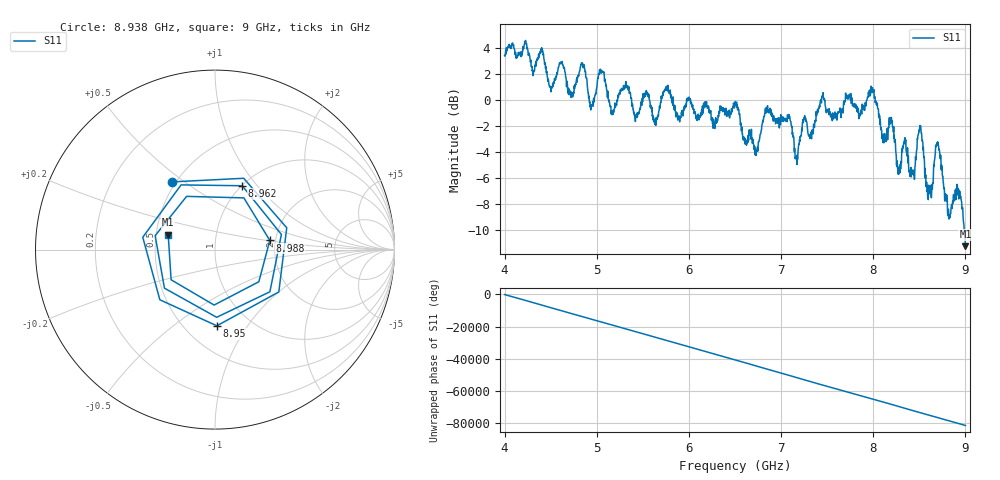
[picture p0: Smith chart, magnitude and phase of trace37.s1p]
! Created with skrf 1.8.0 (http://scikit-rf.org).
# Hz S RI R 50.0
!freq ReS11 ImS11
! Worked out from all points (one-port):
!   1601 points, 4 GHz to 9 GHz, reference 50 ohm
!   lowest |S11| = -11.3 dB at 9 GHz (marker M1), VSWR 1.75, Z = 29 + j5.19 ohm
!   |S11| at or under -10 dB: 8.986676 GHz to end of sweep
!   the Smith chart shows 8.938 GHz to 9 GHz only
!   S11 on the Smith chart (normalised r, x): 8.938 GHz: 0.48, +0.45; 8.95 GHz: 0.71, -0.73; 8.962 GHz: 1.01, +0.84; 8.988 GHz: 1.86, +0.21; 9 GHz: 0.58, +0.10
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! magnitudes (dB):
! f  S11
! 4 GHz  3.4
! 4.503 GHz  0.6
! 4.625 GHz  3.0
! 4.725 GHz  0.5
! 4.853 GHz  2.5
! 4.944 GHz  -0.5
! 5.053 GHz  2.2
! 5.162 GHz  -1.1
! 5.25 GHz  0.4
! 5.875 GHz  -1.0
! 6.5 GHz  -0.3
! 6.725 GHz  -3.8
! 6.85 GHz  -0.7
! 7.125 GHz  -2.5
! 7.75 GHz  0.3
! 7.994 GHz  0.7
! 8.275 GHz  -5.7
! 8.375 GHz  -4.3
! 8.438 GHz  -5.8
! 8.509 GHz  -2.2
! 8.609 GHz  -6.7
! 8.697 GHz  -3.4
! 8.816 GHz  -8.4
! 8.938 GHz  -7.0
! 8.95 GHz  -7.4
! 8.962 GHz  -8.3
! 8.988 GHz  -10.2
! 9 GHz  -11.3
